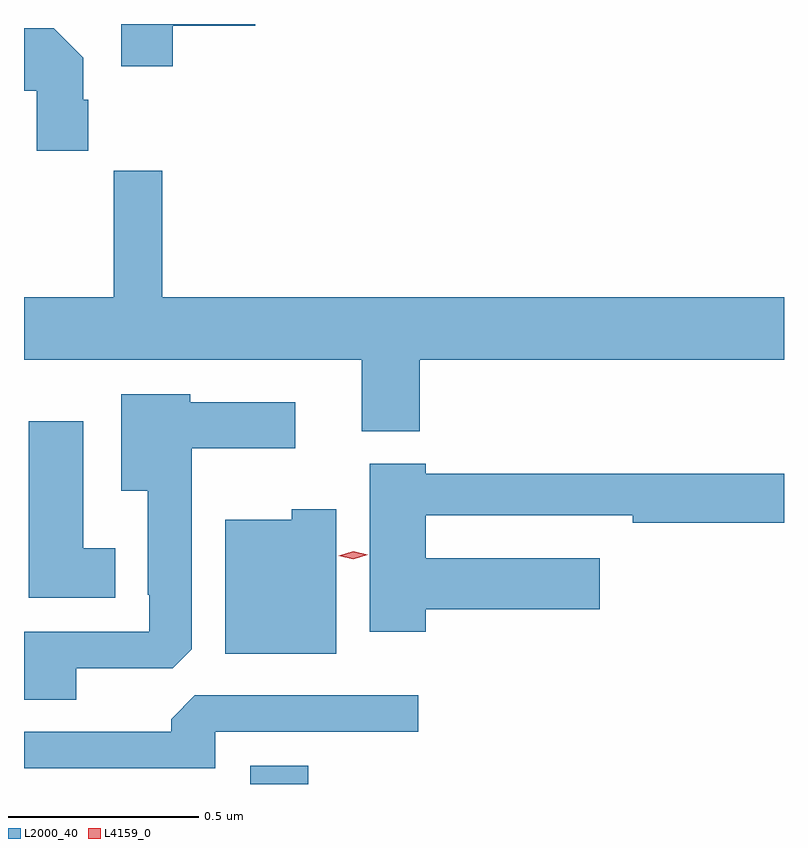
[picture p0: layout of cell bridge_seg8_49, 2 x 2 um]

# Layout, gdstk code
import gdstk
lib = gdstk.Library(unit=1e-6, precision=1e-09)
def R(c, l, rs):  # rectangles x0, y0, x1, y1
    for r in rs: c.add(gdstk.rectangle(r[:2], r[2:], *l))
def P(c, l, *ps):  # polygons
    for p in ps: c.add(gdstk.Polygon(p, *l))
L2000_40 = (2000, 40)
L4159_0 = (4159, 0)

bridge_seg8_49 = lib.new_cell('bridge_seg8_49')
R(bridge_seg8_49, L2000_40, [(1031.057,1123.375,1031.21,1123.423)])
P(bridge_seg8_49, L2000_40, [(1030.853,1125.371),(1031.071,1125.371),(1031.071,1125.375),(1030.718,1125.375),(1030.718,1125.264),(1030.853,1125.264)],
  [(1030.631,1125.176),(1030.618,1125.176),(1030.618,1125.286),(1030.54,1125.364),(1030.462,1125.364),(1030.462,1125.2),(1030.496,1125.2),(1030.496,1125.042),(1030.631,1125.042)],
  [(1031.504,1124.492),(1032.462,1124.492),(1032.462,1124.656),(1030.826,1124.656),(1030.826,1124.989),(1030.698,1124.989),(1030.698,1124.656),(1030.462,1124.656),(1030.462,1124.492),(1031.351,1124.492),(1031.351,1124.303),(1031.504,1124.303)],
  [(1030.6,1123.68),(1030.854,1123.68),(1030.903,1123.729),(1030.903,1124.258),(1031.176,1124.258),(1031.176,1124.38),(1030.899,1124.38),(1030.899,1124.401),(1030.718,1124.401),(1030.718,1124.147),(1030.787,1124.147),(1030.787,1123.873),(1030.791,1123.873),(1030.791,1123.776),(1030.462,1123.776),(1030.462,1123.597),(1030.6,1123.597)],
  [(1030.702,1123.996),(1030.618,1123.996),(1030.618,1124.329),(1030.475,1124.329),(1030.475,1123.865),(1030.702,1123.865)],
  [(1031.519,1123.835),(1031.977,1123.835),(1031.977,1123.969),(1031.519,1123.969),(1031.519,1124.082),(1032.064,1124.082),(1032.064,1124.062),(1032.462,1124.062),(1032.462,1124.191),(1031.519,1124.191),(1031.519,1124.218),(1031.372,1124.218),(1031.372,1123.776),(1031.519,1123.776)],
  [(1031.284,1124.098),(1031.166,1124.098),(1031.166,1124.071),(1030.991,1124.071),(1030.991,1123.718),(1031.284,1123.718)],
  [(1030.965,1123.512),(1031.5,1123.512),(1031.5,1123.608),(1030.911,1123.608),(1030.85,1123.546),(1030.85,1123.512),(1030.462,1123.512),(1030.462,1123.416),(1030.965,1123.416)])
P(bridge_seg8_49, L4159_0, [(1031.329,1123.967),(1031.29,1123.976),(1031.29,1123.976),(1031.29,1123.976),(1031.328,1123.987),(1031.367,1123.978),(1031.367,1123.978),(1031.367,1123.978)])

lib.write_gds('bridge_seg8_49.gds')
